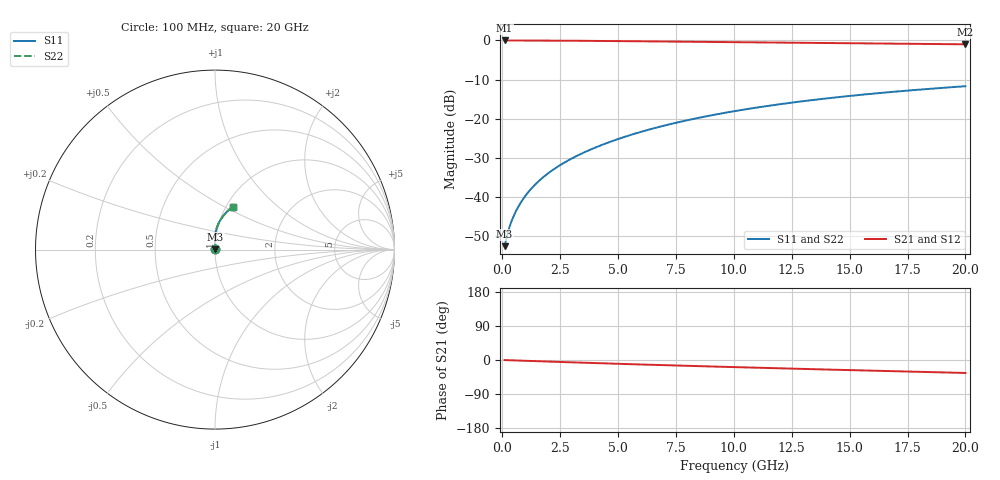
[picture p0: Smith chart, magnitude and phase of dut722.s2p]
! Touchstone file exported from HFSS 2024.1.0
!  File:  C:/UserFiles/LocalFiles/RDL_TSV_Batchsim/temp_RDL_top_722_1779850669.aedt
!  Generated:  11:00:02 AM May 27, 2026
!  Design:  RDL_top
!  Project:  temp_RDL_top_722_1779850669
!  Setup:  Setup1
!  Solution:  Sweep
! Variables:
!  dtsv = 10.80580581um
!  hbump = 3um
!  htsv = 88.69um
!  ldown = 100um
!  lrdl = 520.55um
!  p = 40
!  p1 = 46.46um
!  rhole = 1um
!  t = 450um
!  tdown = 3.915915916um
!  trdl = 3.91um
!  wdown = 15.38538539um
!  wrdl = 26.58um
# GHz S MA R 50.000000
! Terminal data exported
! Port[1] = Box2_T1
! Port[2] = Box2_T2
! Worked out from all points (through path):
!   200 points, 100 MHz to 20 GHz, reference 50 ohm
!   highest |S21| = -0.02 dB at 100 MHz (marker M1); lowest = -1.0 dB at 20 GHz (marker M2)
!   group delay of S21, straight-line fit = 4.68 ps
!   lowest |S11| = -52.6 dB at 100 MHz (marker M3), VSWR 1.00, Z = 50.2 + j0.122 ohm
!   |S11| at or under -10 dB: start of sweep to end of sweep
!   |S22| runs from -52.6 to -11.7 dB; largest |S21 - S12| = 2.7e-15
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0.1  0.002347 31.1  0.998 -0.2  0.998 -0.2  0.002347 31.1
! Gamma 0 0 0 0
! Port Impedance 50 0 50 0
0.2  0.003166 46.9  0.9978 -0.4  0.9978 -0.4  0.003166 46.9
0.3  0.004035 55.3  0.9976 -0.7  0.9976 -0.7  0.004035 55.3
0.4  0.004899 60.9  0.9974 -0.9  0.9974 -0.9  0.004899 60.9
0.5  0.00577 65.1  0.9973 -1.1  0.9973 -1.1  0.00577 65.1
0.6  0.006654 68.4  0.9971 -1.3  0.9971 -1.3  0.006655 68.4
0.8  0.008469 73.3  0.9968 -1.7  0.9968 -1.7  0.008469 73.3
1  0.01034 76.7  0.9965 -2.1  0.9965 -2.1  0.01034 76.7
1.2  0.01225 79.2  0.9961 -2.5  0.9961 -2.5  0.01225 79.2
1.7  0.01719 83.4  0.9949 -3.5  0.9949 -3.5  0.01719 83.4
2.2  0.02232 85.9  0.9933 -4.6  0.9933 -4.6  0.02232 85.9
2.8  0.02875 87.8  0.991 -5.8  0.991 -5.8  0.02875 87.8
3.5  0.03663 89.2  0.9877 -7.2  0.9877 -7.2  0.03663 89.2
4.2  0.04492 90.0  0.9841 -8.5  0.9841 -8.5  0.04492 90.0
5  0.05487 90.2  0.9796 -10.0  0.9796 -10.0  0.05487 90.2
6.8  0.07881 89.3  0.9685 -13.3  0.9685 -13.3  0.07881 89.3
8.4  0.1013 87.4  0.9584 -16.1  0.9584 -16.1  0.1013 87.4
10.1  0.1257 84.8  0.9478 -18.9  0.9478 -18.9  0.1257 84.8
11.7  0.1488 82.0  0.9382 -21.5  0.9382 -21.5  0.1488 82.0
13.4  0.1729 78.9  0.9282 -24.2  0.9282 -24.2  0.1729 78.9
16.7  0.2179 73.0  0.9094 -29.3  0.9094 -29.3  0.2179 72.9
20  0.2595 67.2  0.8911 -34.2  0.8911 -34.2  0.2595 67.2
